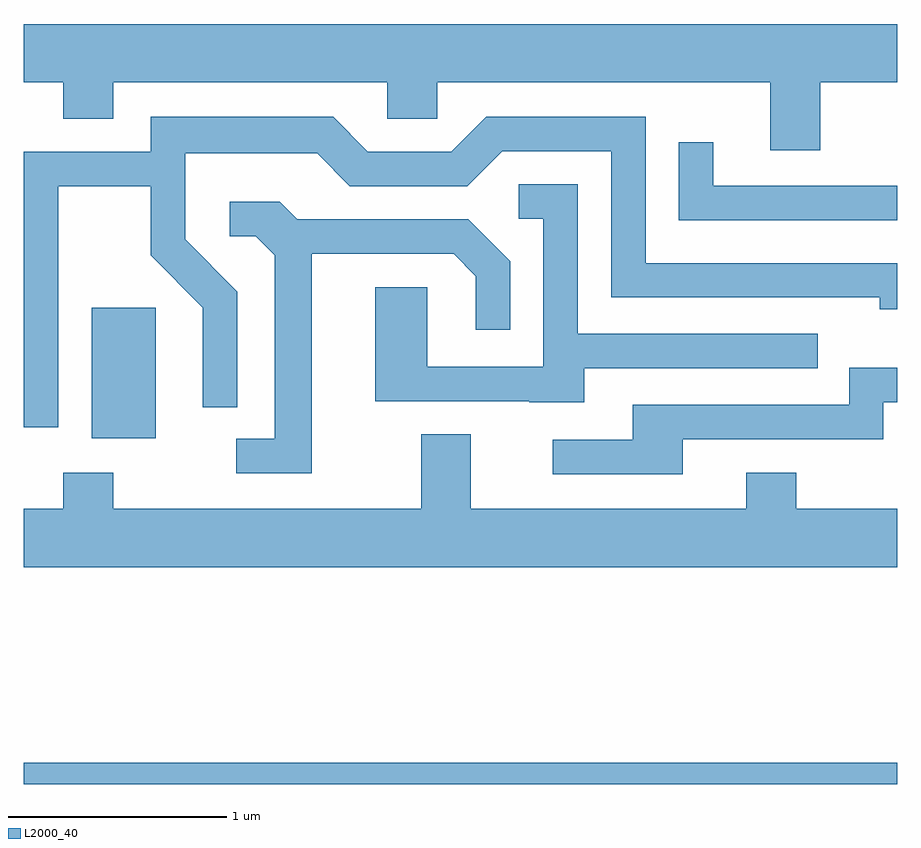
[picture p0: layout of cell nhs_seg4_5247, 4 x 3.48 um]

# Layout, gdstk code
import gdstk
lib = gdstk.Library(unit=1e-6, precision=1e-09)
def R(c, l, rs):  # rectangles x0, y0, x1, y1
    for r in rs: c.add(gdstk.rectangle(r[:2], r[2:], *l))
def P(c, l, *ps):  # polygons
    for p in ps: c.add(gdstk.Polygon(p, *l))
L2000_40 = (2000, 40)

nhs_seg4_5247 = lib.new_cell('nhs_seg4_5247')
R(nhs_seg4_5247, L2000_40, [(339.611,1275.982,343.611,1276.079), (339.921,1277.566,340.214,1278.164)])
P(nhs_seg4_5247, L2000_40, [(343.259,1279.196),(343.611,1279.196),(343.611,1279.464),(339.611,1279.464),(339.611,1279.196),(339.791,1279.196),(339.791,1279.031),(340.019,1279.031),(340.019,1279.196),(341.276,1279.196),(341.276,1279.031),(341.504,1279.031),(341.504,1279.196),(343.031,1279.196),(343.031,1278.886),(343.259,1278.886)],
  [(339.769,1278.721),(340.191,1278.721),(340.191,1278.404),(340.431,1278.164),(340.431,1277.708),(340.589,1277.708),(340.589,1278.237),(340.349,1278.477),(340.349,1278.871),(340.954,1278.871),(341.104,1278.721),(341.642,1278.721),(341.802,1278.881),(342.301,1278.881),(342.301,1278.211),(343.531,1278.211),(343.531,1278.156),(343.611,1278.156),(343.611,1278.369),(342.459,1278.369),(342.459,1279.039),(341.729,1279.039),(341.569,1278.879),(341.187,1278.879),(341.027,1279.039),(340.191,1279.039),(340.191,1278.879),(339.611,1278.879),(339.611,1277.616),(339.769,1277.616)],
  [(343.611,1278.724),(342.769,1278.724),(342.769,1278.923),(342.611,1278.923),(342.611,1278.566),(343.611,1278.566)],
  [(342.179,1277.886),(343.248,1277.886),(343.248,1278.044),(342.149,1278.044),(342.149,1278.729),(341.878,1278.729),(341.878,1278.571),(341.991,1278.571),(341.991,1277.894),(341.459,1277.894),(341.459,1278.259),(341.221,1278.259),(341.221,1277.736),(341.925,1277.736),(341.925,1277.731),(342.179,1277.731)],
  [(340.929,1278.411),(341.579,1278.411),(341.681,1278.309),(341.681,1278.063),(341.839,1278.063),(341.839,1278.377),(341.647,1278.569),(340.862,1278.569),(340.782,1278.649),(340.553,1278.649),(340.553,1278.491),(340.674,1278.491),(340.761,1278.404),(340.761,1277.564),(340.583,1277.564),(340.583,1277.406),(340.929,1277.406)],
  [(342.629,1277.561),(343.549,1277.561),(343.549,1277.731),(343.611,1277.731),(343.611,1277.889),(343.391,1277.889),(343.391,1277.719),(342.401,1277.719),(342.401,1277.559),(342.033,1277.559),(342.033,1277.401),(342.629,1277.401)],
  [(343.611,1277.244),(343.149,1277.244),(343.149,1277.409),(342.921,1277.409),(342.921,1277.244),(341.659,1277.244),(341.659,1277.584),(341.431,1277.584),(341.431,1277.244),(340.019,1277.244),(340.019,1277.409),(339.791,1277.409),(339.791,1277.244),(339.611,1277.244),(339.611,1276.976),(343.611,1276.976)])

lib.write_gds('nhs_seg4_5247.gds')
